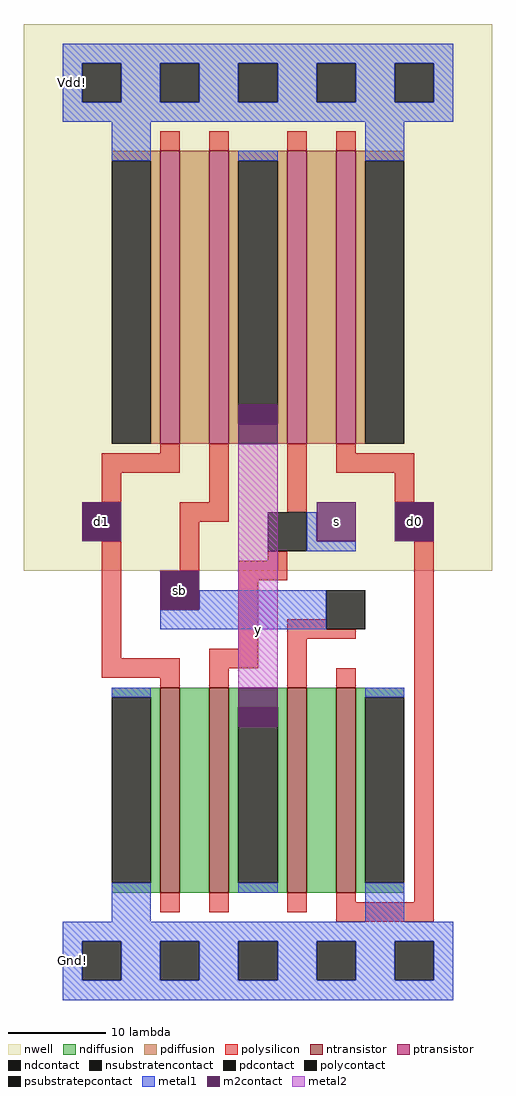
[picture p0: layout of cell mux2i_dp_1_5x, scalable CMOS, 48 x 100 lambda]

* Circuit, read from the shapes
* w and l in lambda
.subckt mux2i_dp_1_5x Gnd! Vdd! d0 d1 s sb y
M1 n1 d1 Gnd! Gnd! nfet w=21 l=2
M2 y s n1 Gnd! nfet w=21 l=2
M3 n2 sb y Gnd! nfet w=21 l=2
M4 Gnd! d0 n2 Gnd! nfet w=21 l=2
M5 n3 d1 Vdd! Vdd! pfet w=30 l=2
M6 y sb n3 Vdd! pfet w=30 l=2
M7 n4 s y Vdd! pfet w=30 l=2
M8 Vdd! d0 n4 Vdd! pfet w=30 l=2
.ends

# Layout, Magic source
magic
tech scmos
<< nwell >>
rect -6 40 42 96
<< ntransistor >>
rect 8 7 10 28
rect 13 7 15 28
rect 21 7 23 28
rect 26 7 28 28
<< ptransistor >>
rect 8 53 10 83
rect 13 53 15 83
rect 21 53 23 83
rect 26 53 28 83
<< ndiffusion >>
rect 3 27 8 28
rect 7 8 8 27
rect 3 7 8 8
rect 10 7 13 28
rect 15 26 21 28
rect 15 8 16 26
rect 20 8 21 26
rect 15 7 21 8
rect 23 7 26 28
rect 28 27 33 28
rect 28 8 29 27
rect 28 7 33 8
<< pdiffusion >>
rect 3 82 8 83
rect 7 53 8 82
rect 10 53 13 83
rect 15 82 21 83
rect 15 55 16 82
rect 20 55 21 82
rect 15 53 21 55
rect 23 53 26 83
rect 28 82 33 83
rect 28 53 29 82
<< ndcontact >>
rect 3 8 7 27
rect 16 8 20 26
rect 29 8 33 27
<< pdcontact >>
rect 3 53 7 82
rect 16 55 20 82
rect 29 53 33 82
<< psubstratepcontact >>
rect 0 -2 4 2
rect 8 -2 12 2
rect 16 -2 20 2
rect 24 -2 28 2
rect 32 -2 36 2
<< nsubstratencontact >>
rect 0 88 4 92
rect 8 88 12 92
rect 16 88 20 92
rect 24 88 28 92
rect 32 88 36 92
<< polysilicon >>
rect 8 83 10 85
rect 13 83 15 85
rect 21 83 23 85
rect 26 83 28 85
rect 8 52 10 53
rect 2 50 10 52
rect 2 47 4 50
rect 13 47 15 53
rect 2 31 4 43
rect 10 45 15 47
rect 21 46 23 53
rect 26 52 28 53
rect 26 50 34 52
rect 10 40 12 45
rect 32 47 34 50
rect 19 41 21 42
rect 16 39 21 41
rect 16 32 18 39
rect 2 29 10 31
rect 8 28 10 29
rect 13 30 18 32
rect 21 34 25 35
rect 21 33 28 34
rect 13 28 15 30
rect 21 28 23 33
rect 26 28 28 30
rect 8 5 10 7
rect 13 5 15 7
rect 21 5 23 7
rect 26 6 28 7
rect 34 6 36 43
rect 26 4 36 6
<< polycontact >>
rect 0 43 4 47
rect 19 42 23 46
rect 32 43 36 47
rect 8 36 12 40
rect 25 34 29 38
<< metal1 >>
rect -2 92 38 94
rect -2 88 0 92
rect 4 88 8 92
rect 12 88 16 92
rect 20 88 24 92
rect 28 88 32 92
rect 36 88 38 92
rect -2 86 38 88
rect 3 82 7 86
rect 16 82 20 83
rect 29 82 33 86
rect 23 43 24 46
rect 23 42 28 43
rect 12 36 25 38
rect 8 34 25 36
rect 3 27 7 28
rect 3 4 7 8
rect 16 7 20 8
rect 29 27 33 28
rect 29 4 33 8
rect -2 2 38 4
rect -2 -2 0 2
rect 4 -2 8 2
rect 12 -2 16 2
rect 20 -2 24 2
rect 28 -2 32 2
rect 36 -2 38 2
rect -2 -4 38 -2
<< m2contact >>
rect 16 55 20 57
rect 16 53 20 55
rect 0 43 4 47
rect 24 43 28 47
rect 32 43 36 47
rect 8 36 12 40
rect 16 26 20 28
rect 16 24 20 26
<< metal2 >>
rect 16 28 20 53
<< labels >>
rlabel metal1 -1 0 -1 0 2 Gnd!
rlabel metal1 -1 90 -1 90 3 Vdd!
rlabel m2contact 34 45 34 45 1 d0
rlabel m2contact 26 45 26 45 1 s
rlabel m2contact 10 38 10 38 1 sb
rlabel m2contact 2 45 2 45 1 d1
rlabel metal2 18 34 18 34 1 y
<< end >>
